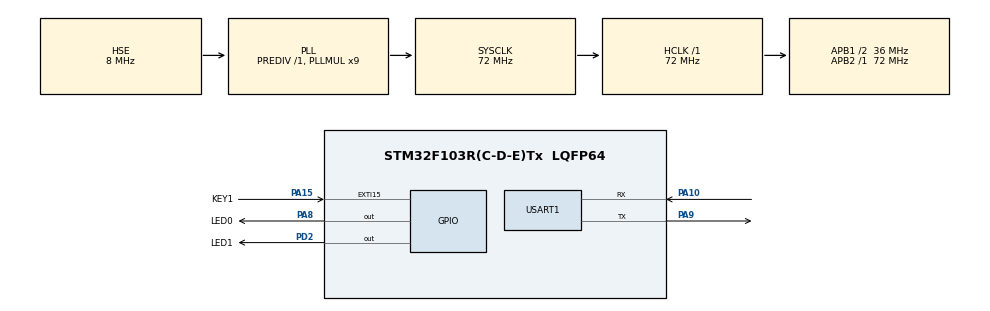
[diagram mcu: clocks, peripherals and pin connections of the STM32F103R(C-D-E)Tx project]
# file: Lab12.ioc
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FREERTOS.Tasks01=Task_LED0,0,128,Func_LED0,Default,NULL,Dynamic,NULL,NULL;Task_LED1,0,128,Func_LED1,Default,NULL,Dynamic,NULL,NULL;Task03,0,128,StartTask03,Default,NULL,Dynamic,NULL,NULL
FREERTOS.configUSE_NEWLIB_REENTRANT=1
Mcu.Family=STM32F1
Mcu.Name=STM32F103R(C-D-E)Tx
Mcu.Package=LQFP64
NVIC.EXTI15_10_IRQn=true\:5\:0\:false\:false\:true\:true\:true\:true\:true
NVIC.PriorityGroup=NVIC_PRIORITYGROUP_4
NVIC.TIM3_IRQn=true\:15\:0\:false\:false\:true\:false\:false\:true\:true
NVIC.TimeBase=TIM3_IRQn
NVIC.TimeBaseIP=TIM3
NVIC.USART1_IRQn=true\:5\:0\:false\:false\:true\:true\:true\:true\:true
PA10.Mode=Asynchronous
PA10.Signal=USART1_RX
PA13.Mode=Serial_Wire
PA13.Signal=SYS_JTMS-SWDIO
PA14.Mode=Serial_Wire
PA14.Signal=SYS_JTCK-SWCLK
PA15.GPIO_Label=KEY1
PA15.GPIO_PuPd=GPIO_PULLUP
PA15.Signal=GPXTI15
PA8.GPIO_Label=LED0
PA8.PinState=GPIO_PIN_SET
PA8.Signal=GPIO_Output
PA9.Mode=Asynchronous
PA9.Signal=USART1_TX
PD0-OSC_IN.Mode=HSE-External-Oscillator
PD0-OSC_IN.Signal=RCC_OSC_IN
PD1-OSC_OUT.Mode=HSE-External-Oscillator
PD1-OSC_OUT.Signal=RCC_OSC_OUT
PD2.GPIO_Label=LED1
PD2.PinState=GPIO_PIN_SET
PD2.Signal=GPIO_Output
ProjectManager.HeapSize=0x200
ProjectManager.StackSize=0x400
ProjectManager.TargetToolchain=STM32CubeIDE
RCC.AHBFreq_Value=72000000
RCC.APB1CLKDivider=RCC_HCLK_DIV2
RCC.APB1Freq_Value=36000000
RCC.APB1TimFreq_Value=72000000
RCC.APB2Freq_Value=72000000
RCC.APB2TimFreq_Value=72000000
RCC.HCLKFreq_Value=72000000
RCC.PLLMUL=RCC_PLL_MUL9
RCC.PLLSourceVirtual=RCC_PLLSOURCE_HSE
RCC.SYSCLKFreq_VALUE=72000000
RCC.SYSCLKSource=RCC_SYSCLKSOURCE_PLLCLK
RCC.USBFreq_Value=72000000
USART1.VirtualMode=VM_ASYNC
VP_FREERTOS_VS_CMSIS_V1.Mode=CMSIS_V1
VP_SYS_VS_tim3.Mode=TIM3
board=custom

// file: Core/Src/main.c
/* USER CODE BEGIN Header */
/**
  ******************************************************************************
  * @file           : main.c
  * @brief          : Main program body
  ******************************************************************************
  * @attention
  *
  * Copyright (c) 2022 STMicroelectronics.
  * All rights reserved.
  *
  * This software is licensed under terms that can be found in the LICENSE file
  * in the root directory of this software component.
  * If no LICENSE file comes with this software, it is provided AS-IS.
  *
  ******************************************************************************
  */
/* USER CODE END Header */
#include "main.h"
#include "cmsis_os.h"

UART_HandleTypeDef huart1;

osThreadId Task_LED0Handle;
osThreadId Task_LED1Handle;
osThreadId Task03Handle;
/* USER CODE BEGIN PV */
unsigned char msg[100];
/* USER CODE END PV */

void SystemClock_Config(void);
static void MX_GPIO_Init(void);
static void MX_USART1_UART_Init(void);
void Func_LED0(void const * argument);
void Func_LED1(void const * argument);
void StartTask03(void const * argument);

int main(void)
{

  /* MCU Configuration--------------------------------------------------------*/

  /* Reset of all peripherals, Initializes the Flash interface and the Systick. */
  HAL_Init();

  /* Configure the system clock */
  SystemClock_Config();

  /* Initialize all configured peripherals */
  MX_GPIO_Init();
  MX_USART1_UART_Init();

  /* Create the thread(s) */
  /* definition and creation of Task_LED0 */
  osThreadDef(Task_LED0, Func_LED0, osPriorityNormal, 0, 128);
  Task_LED0Handle = osThreadCreate(osThread(Task_LED0), NULL);

  /* definition and creation of Task_LED1 */
  osThreadDef(Task_LED1, Func_LED1, osPriorityNormal, 0, 128);
  Task_LED1Handle = osThreadCreate(osThread(Task_LED1), NULL);

  /* definition and creation of Task03 */
  osThreadDef(Task03, StartTask03, osPriorityNormal, 0, 128);
  Task03Handle = osThreadCreate(osThread(Task03), NULL);

  /* Start scheduler */
  osKernelStart();

  /* We should never get here as control is now taken by the scheduler */
  /* Infinite loop */
  while (1)
  {

  }
}

void SystemClock_Config(void)
{
  RCC_OscInitTypeDef RCC_OscInitStruct = {0};
  RCC_ClkInitTypeDef RCC_ClkInitStruct = {0};

  /** Initializes the RCC Oscillators according to the specified parameters
  * in the RCC_OscInitTypeDef structure.
  */
  RCC_OscInitStruct.OscillatorType = RCC_OSCILLATORTYPE_HSE;
  RCC_OscInitStruct.HSEState = RCC_HSE_ON;
  RCC_OscInitStruct.HSEPredivValue = RCC_HSE_PREDIV_DIV1;
  RCC_OscInitStruct.HSIState = RCC_HSI_ON;
  RCC_OscInitStruct.PLL.PLLState = RCC_PLL_ON;
  RCC_OscInitStruct.PLL.PLLSource = RCC_PLLSOURCE_HSE;
  RCC_OscInitStruct.PLL.PLLMUL = RCC_PLL_MUL9;
  if (HAL_RCC_OscConfig(&RCC_OscInitStruct) != HAL_OK)
  {
    Error_Handler();
  }

  /** Initializes the CPU, AHB and APB buses clocks
  */
  RCC_ClkInitStruct.ClockType = RCC_CLOCKTYPE_HCLK|RCC_CLOCKTYPE_SYSCLK
                              |RCC_CLOCKTYPE_PCLK1|RCC_CLOCKTYPE_PCLK2;
  RCC_ClkInitStruct.SYSCLKSource = RCC_SYSCLKSOURCE_PLLCLK;
  RCC_ClkInitStruct.AHBCLKDivider = RCC_SYSCLK_DIV1;
  RCC_ClkInitStruct.APB1CLKDivider = RCC_HCLK_DIV2;
  RCC_ClkInitStruct.APB2CLKDivider = RCC_HCLK_DIV1;

  if (HAL_RCC_ClockConfig(&RCC_ClkInitStruct, FLASH_LATENCY_2) != HAL_OK)
  {
    Error_Handler();
  }
}

static void MX_USART1_UART_Init(void)
{

  huart1.Instance = USART1;
  huart1.Init.BaudRate = 115200;
  huart1.Init.WordLength = UART_WORDLENGTH_8B;
  huart1.Init.StopBits = UART_STOPBITS_1;
  huart1.Init.Parity = UART_PARITY_NONE;
  huart1.Init.Mode = UART_MODE_TX_RX;
  huart1.Init.HwFlowCtl = UART_HWCONTROL_NONE;
  huart1.Init.OverSampling = UART_OVERSAMPLING_16;
  if (HAL_UART_Init(&huart1) != HAL_OK)
  {
    Error_Handler();
  }

}

static void MX_GPIO_Init(void)
{
  GPIO_InitTypeDef GPIO_InitStruct = {0};

  /* GPIO Ports Clock Enable */
  __HAL_RCC_GPIOD_CLK_ENABLE();
  __HAL_RCC_GPIOA_CLK_ENABLE();

  /*Configure GPIO pin Output Level */
  HAL_GPIO_WritePin(LED0_GPIO_Port, LED0_Pin, GPIO_PIN_SET);

  /*Configure GPIO pin Output Level */
  HAL_GPIO_WritePin(LED1_GPIO_Port, LED1_Pin, GPIO_PIN_SET);

  /*Configure GPIO pin : LED0_Pin */
  GPIO_InitStruct.Pin = LED0_Pin;
  GPIO_InitStruct.Mode = GPIO_MODE_OUTPUT_PP;
  GPIO_InitStruct.Pull = GPIO_NOPULL;
  GPIO_InitStruct.Speed = GPIO_SPEED_FREQ_LOW;
  HAL_GPIO_Init(LED0_GPIO_Port, &GPIO_InitStruct);

  /*Configure GPIO pin : KEY1_Pin */
  GPIO_InitStruct.Pin = KEY1_Pin;
  GPIO_InitStruct.Mode = GPIO_MODE_IT_RISING;
  GPIO_InitStruct.Pull = GPIO_PULLUP;
  HAL_GPIO_Init(KEY1_GPIO_Port, &GPIO_InitStruct);

  /*Configure GPIO pin : LED1_Pin */
  GPIO_InitStruct.Pin = LED1_Pin;
  GPIO_InitStruct.Mode = GPIO_MODE_OUTPUT_PP;
  GPIO_InitStruct.Pull = GPIO_NOPULL;
  GPIO_InitStruct.Speed = GPIO_SPEED_FREQ_LOW;
  HAL_GPIO_Init(LED1_GPIO_Port, &GPIO_InitStruct);

  /* EXTI interrupt init*/
  HAL_NVIC_SetPriority(EXTI15_10_IRQn, 5, 0);
  HAL_NVIC_EnableIRQ(EXTI15_10_IRQn);

}

/* USER CODE BEGIN 4 */
void HAL_GPIO_EXTI_Callback(uint16_t GPIO_Pin)
{
switch (GPIO_Pin) {
case KEY1_Pin:
	if (HAL_GPIO_ReadPin(KEY1_GPIO_Port, KEY1_Pin) == GPIO_PIN_RESET){
		  HAL_UART_Transmit(&huart1, (uint8_t*)msg, strlen(msg), HAL_MAX_DELAY);
		  //osDelay(500);
	}
}
}
/* USER CODE END 4 */

void Func_LED0(void const * argument)
{
  /* USER CODE BEGIN 5 */
  /* Infinite loop */
  for(;;)
  {
HAL_GPIO_TogglePin(LED0_GPIO_Port, LED0_Pin);
osDelay(500);
  }
  /* USER CODE END 5 */
}

void Func_LED1(void const * argument)
{
  /* USER CODE BEGIN Func_LED1 */
/* Infinite loop */
for(;;)
{
HAL_GPIO_TogglePin(LED1_GPIO_Port, LED1_Pin);
osDelay(500);
}
  /* USER CODE END Func_LED1 */
}

void StartTask03(void const * argument)
{
  /* USER CODE BEGIN StartTask03 */
  /* Infinite loop */
	int i=0;
	int h,m,s;

  for(;;)
  {
	  h=i/3600;
	  m=(i-h*3600)/60;
	  s=i%60;
	  if (h==0&&m==0&&s==0){
		   sprintf(msg, "MiniSTM32 has been running 00h 00m 00s\r\n");
	  }
	  else if (h==0&&m==0){
		  sprintf(msg, "MiniSTM32 has been running 00h 00m %ds\r\n", s);
	  }else if  (h==0){
		  sprintf(msg, "MiniSTM32 has been running 00h %dm %ds\r\n", m,s);
	  }else {
		  sprintf(msg, "MiniSTM32 has been running %dh %dm %ds\r\n", h,m,s);
	  }

    osDelay(1000);
    i++;
  }
  /* USER CODE END StartTask03 */
}

void HAL_TIM_PeriodElapsedCallback(TIM_HandleTypeDef *htim)
{
  if (htim->Instance == TIM3) {
    HAL_IncTick();
  }
}

void Error_Handler(void)
{
  __disable_irq();
  while (1)
  {
  }
}
